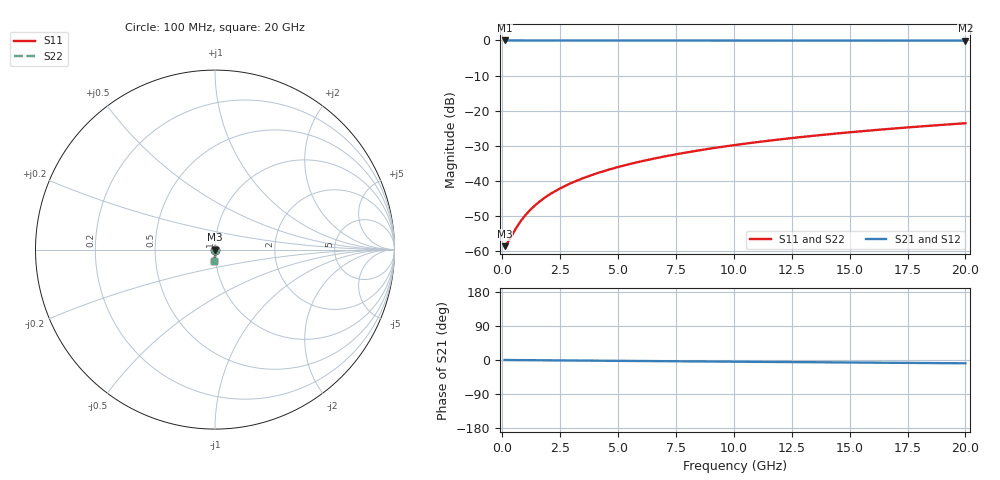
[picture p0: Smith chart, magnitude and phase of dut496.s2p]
! Touchstone file exported from HFSS 2026.1.0
!  File:  C:/ffzhzh/LocalFiles/Ansys_Project_Files/temp_train_TSV_496_1783022957_51716.aedt
!  Generated:  04:11:23 AM Jul  3, 2026
!  Design:  TSV
!  Project:  temp_train_TSV_496_1783022957_51716
! Variables:
!  h_bsmrdl = 2um
!  h_ox = 20um
!  h_rdl = 5um
!  h_sub = 85.55um
!  h_tmrdl = 5um
!  h_tsv = 85.55um
!  h_via = 3um
!  l_bsmrdl = 300um
!  l_sub = 405.88um
!  l_tmrdl = 200um
!  m_sub = 200um
!  pitch = 7.95um
!  r_tsv = 2.94um
!  s_tmrdl = 10um
!  w_bsmrdl = 18um
!  w_sub = 500um
!  w_tmrdl = 12um
!  x_tsv_center1 = 206um
!  x_tsv_center2 = 524um
!  x_tsv_center3 = 736um
!  x_tsv_center4 = 1054um
!  x_tsv_center5 = 1266um
!  x_tsv_center6 = 1584um
# GHz S MA R 50.000000
! Terminal data exported
! Port[1] = TSV1_1_T1
! Port[2] = TSV1_1_T2
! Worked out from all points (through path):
!   200 points, 100 MHz to 20 GHz, reference 50 ohm
!   highest |S21| = -0.01 dB at 100 MHz (marker M1); lowest = -0.1 dB at 20 GHz (marker M2)
!   group delay of S21, straight-line fit = 1.21 ps
!   lowest |S11| = -58.5 dB at 100 MHz (marker M3), VSWR 1.00, Z = 50.1 - j0.0252 ohm
!   |S11| at or under -10 dB: start of sweep to end of sweep
!   |S22| runs from -58.5 to -23.6 dB; largest |S21 - S12| = 2.1e-15
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0.1  0.001186 -12.2  0.9988 -0.0  0.9988 -0.0  0.001186 -12.2
! Gamma 0 0 0 0
! Port Impedance 50 0 50 0
0.2  0.001293 -23.4  0.9988 -0.1  0.9988 -0.1  0.001293 -23.4
0.3  0.001455 -32.8  0.9988 -0.1  0.9988 -0.1  0.001455 -32.8
0.6  0.00215 -51.7  0.9987 -0.3  0.9987 -0.3  0.00215 -51.7
0.7  0.00242 -55.8  0.9986 -0.3  0.9986 -0.3  0.00242 -55.8
0.9  0.002986 -62.0  0.9986 -0.4  0.9986 -0.4  0.002986 -62.0
1.2  0.003872 -68.1  0.9985 -0.5  0.9985 -0.5  0.003872 -68.1
1.5  0.004779 -72.1  0.9985 -0.7  0.9985 -0.7  0.004779 -72.1
1.9  0.006007 -75.6  0.9984 -0.9  0.9984 -0.9  0.006007 -75.6
2.4  0.00756 -78.5  0.9983 -1.1  0.9983 -1.1  0.00756 -78.5
2.9  0.009126 -80.4  0.9982 -1.3  0.9982 -1.3  0.009126 -80.4
3.5  0.01102 -82.0  0.9981 -1.6  0.9981 -1.6  0.01102 -82.0
4.2  0.01325 -83.4  0.998 -1.9  0.998 -1.9  0.01325 -83.4
5  0.01583 -84.5  0.9978 -2.2  0.9978 -2.2  0.01583 -84.5
5.9  0.01875 -85.5  0.9975 -2.6  0.9975 -2.6  0.01875 -85.5
6.8  0.02171 -86.3  0.9972 -3.0  0.9972 -3.0  0.02171 -86.3
8.3  0.02669 -87.5  0.9968 -3.7  0.9968 -3.7  0.02669 -87.5
10.1  0.03273 -88.8  0.9962 -4.5  0.9962 -4.5  0.03273 -88.8
11.7  0.03815 -89.8  0.9957 -5.2  0.9957 -5.2  0.03815 -89.8
13.4  0.04393 -90.8  0.9951 -5.9  0.9951 -5.9  0.04393 -90.8
16.7  0.05518 -92.7  0.994 -7.3  0.994 -7.3  0.05518 -92.7
20  0.06643 -94.5  0.9929 -8.7  0.9929 -8.7  0.06643 -94.5
